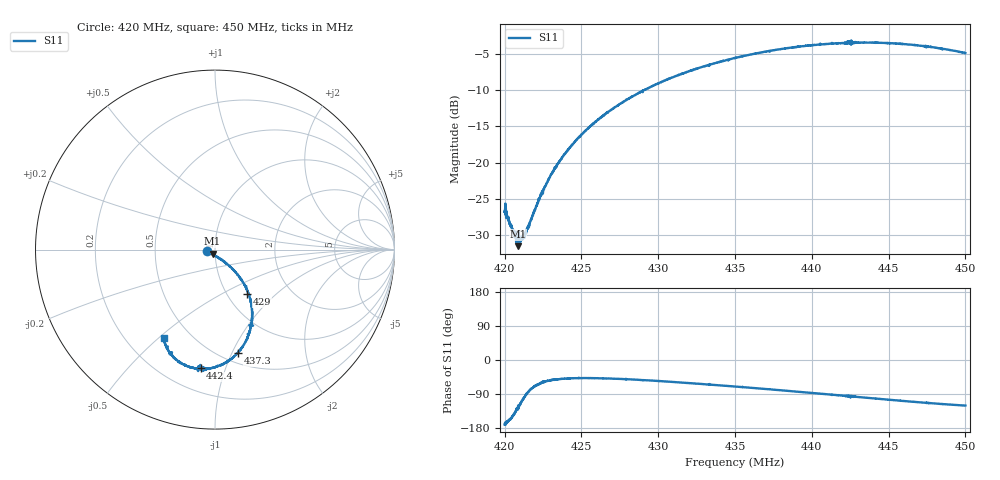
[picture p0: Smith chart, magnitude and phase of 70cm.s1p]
! Calibrated averaged scanner-service zoom
# Hz S RI R 50
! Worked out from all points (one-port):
!   3001 points, 420 MHz to 450 MHz, reference 50 ohm
!   lowest |S11| = -31.5 dB at 420.9 MHz (marker M1), VSWR 1.05, Z = 48.6 - j2.22 ohm
!   |S11| at or under -10 dB: start of sweep to 429.1 MHz
!   S11 on the Smith chart (normalised r, x): 420 MHz: 0.91, -0.01; 429 MHz: 1.24, -0.67; 437.3 MHz: 0.60, -1.05; 442.4 MHz: 0.35, -0.82; 450 MHz: 0.36, -0.52
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4.2e8  -0.0451 -0.00787
4.2015e8  -0.0419 -0.0108
4.2042e8  -0.0327 -0.0162
4.2062e8  -0.0261 -0.0192
4.2088e8  -0.0135 -0.0229
4.2103e8  -0.0129 -0.0259
4.2131e8  -0.00395 -0.0318
4.2143e8  0.00095 -0.0347
4.2246e8  0.0333 -0.0526
4.2313e8  0.0528 -0.0684
4.2375e8  0.0701 -0.0829
4.2465e8  0.0951 -0.1054
4.2547e8  0.1164 -0.1292
4.2651e8  0.1422 -0.1613
4.275e8  0.1623 -0.1937
4.2899e8  0.1805 -0.2462
4.3125e8  0.2062 -0.3401
4.3285e8  0.2045 -0.407
4.35e8  0.1801 -0.4945
4.373e8  0.1271 -0.5764
4.3875e8  0.0807 -0.6152
4.405e8  0.0156 -0.6508
4.4241e8  -0.0806 -0.6608
4.425e8  -0.0933 -0.6511
4.4432e8  -0.1427 -0.6537
4.4625e8  -0.2125 -0.6164
4.4833e8  -0.2665 -0.5518
4.5e8  -0.2847 -0.491
